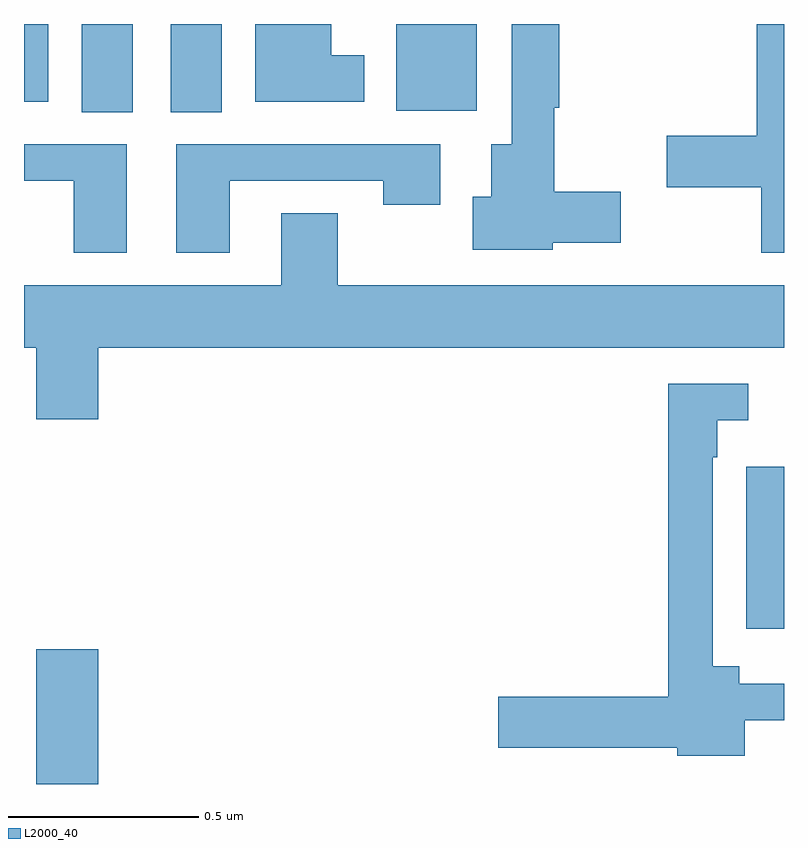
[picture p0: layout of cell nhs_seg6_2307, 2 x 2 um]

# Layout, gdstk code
import gdstk
lib = gdstk.Library(unit=1e-6, precision=1e-09)
def R(c, l, rs):  # rectangles x0, y0, x1, y1
    for r in rs: c.add(gdstk.rectangle(r[:2], r[2:], *l))
def P(c, l, *ps):  # polygons
    for p in ps: c.add(gdstk.Polygon(p, *l))
L2000_40 = (2000, 40)

nhs_seg6_2307 = lib.new_cell('nhs_seg6_2307')
R(nhs_seg6_2307, L2000_40, [(141.032,967.5,141.196,967.855), (142.901,967.908,143,968.335), (141.152,969.268,141.286,969.5), (141.386,969.268,141.52,969.5), (141.98,969.272,142.192,969.5), (141,969.296,141.064,969.5)])
P(nhs_seg6_2307, L2000_40, [(143,969.5),(142.928,969.5),(142.928,969.206),(142.692,969.206),(142.692,969.071),(142.94,969.071),(142.94,968.898),(143,968.898)],
  [(142.392,968.924),(142.57,968.924),(142.57,969.059),(142.396,969.059),(142.396,969.28),(142.409,969.28),(142.409,969.5),(142.283,969.5),(142.283,969.184),(142.229,969.184),(142.229,969.046),(142.181,969.046),(142.181,968.906),(142.392,968.906)],
  [(141.895,969.418),(141.808,969.418),(141.808,969.5),(141.608,969.5),(141.608,969.296),(141.895,969.296)],
  [(141.271,969.183),(141,969.183),(141,969.087),(141.131,969.087),(141.131,968.898),(141.271,968.898)],
  [(141.541,969.087),(141.946,969.087),(141.946,969.024),(142.096,969.024),(142.096,969.183),(141.401,969.183),(141.401,968.898),(141.541,968.898)],
  [(143,968.812),(141.825,968.812),(141.825,969.002),(141.677,969.002),(141.677,968.812),(141,968.812),(141,968.648),(141.032,968.648),(141.032,968.46),(141.196,968.46),(141.196,968.648),(143,968.648)],
  [(142.897,967.668),(143,967.668),(143,967.764),(142.882,967.764),(142.882,967.81),(142.812,967.81),(142.812,968.36),(142.824,968.36),(142.824,968.457),(142.906,968.457),(142.906,968.553),(142.696,968.553),(142.696,967.73),(142.248,967.73),(142.248,967.595),(142.719,967.595),(142.719,967.574),(142.897,967.574)])

lib.write_gds('nhs_seg6_2307.gds')
